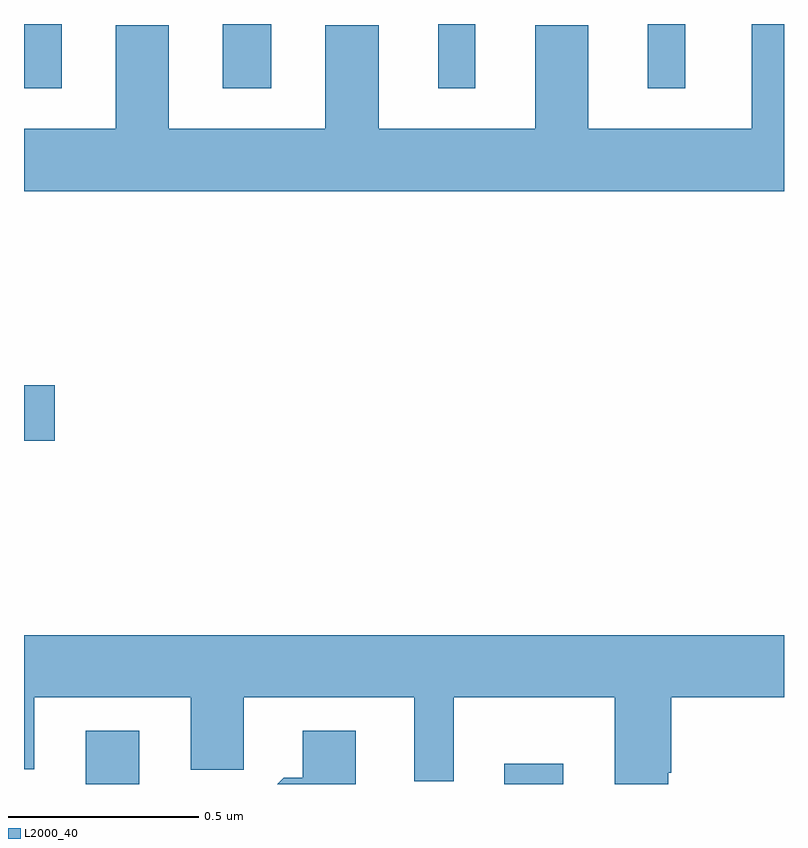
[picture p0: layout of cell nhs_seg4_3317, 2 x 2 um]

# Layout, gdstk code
import gdstk
lib = gdstk.Library(unit=1e-6, precision=1e-09)
def R(c, l, rs):  # rectangles x0, y0, x1, y1
    for r in rs: c.add(gdstk.rectangle(r[:2], r[2:], *l))
def P(c, l, *ps):  # polygons
    for p in ps: c.add(gdstk.Polygon(p, *l))
L2000_40 = (2000, 40)

nhs_seg4_3317 = lib.new_cell('nhs_seg4_3317')
R(nhs_seg4_3317, L2000_40, [(151.163,821.9,151.303,822.04), (152.264,821.9,152.419,821.953), (151,822.803,151.081,822.95), (151,823.731,151.099,823.9), (151.523,823.731,151.651,823.9), (152.09,823.731,152.188,823.9), (152.642,823.731,152.74,823.9)])
P(nhs_seg4_3317, L2000_40, [(153,823.9),(152.915,823.9),(152.915,823.624),(152.485,823.624),(152.485,823.897),(152.345,823.897),(152.345,823.624),(151.933,823.624),(151.933,823.897),(151.793,823.897),(151.793,823.624),(151.381,823.624),(151.381,823.897),(151.241,823.897),(151.241,823.624),(151,823.624),(151,823.46),(153,823.46)],
  [(152.695,821.929),(152.703,821.929),(152.703,822.128),(153,822.128),(153,822.292),(151,822.292),(151,821.939),(151.027,821.939),(151.027,822.128),(151.439,822.128),(151.439,821.938),(151.578,821.938),(151.578,822.128),(152.027,822.128),(152.027,821.907),(152.131,821.907),(152.131,822.128),(152.555,822.128),(152.555,821.9),(152.695,821.9)],
  [(151.873,822.04),(151.733,822.04),(151.733,821.917),(151.684,821.917),(151.667,821.9),(151.873,821.9)])

lib.write_gds('nhs_seg4_3317.gds')
